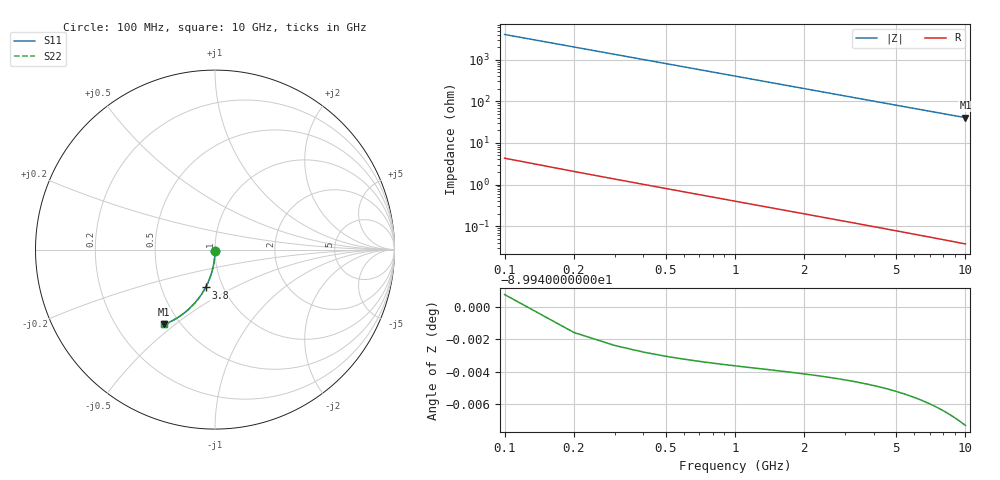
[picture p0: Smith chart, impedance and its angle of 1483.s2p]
# Hz S RI R 50.00
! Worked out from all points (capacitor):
!   100 points, 100 MHz to 10 GHz, reference 50 ohm
!   read as one part in shunt: C = 394 fF near 100 MHz
!   lowest |Z| = 40.6 ohm at 10 GHz (marker M1)
!   S11 on the Smith chart (normalised r, x): 100 MHz: 1.00, -0.01; 3.8 GHz: 0.83, -0.37; 10 GHz: 0.41, -0.46
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1e8  5.71e-05 -0.00586  0.9999 -0.00651  0.9999 -0.00651  5.71e-05 -0.00586
2e8  -6.25e-05 -0.0117  0.9997 -0.013  0.9997 -0.013  -6.25e-05 -0.0117
3e8  -0.000259 -0.0176  0.9995 -0.0195  0.9995 -0.0195  -0.000259 -0.0176
4e8  -0.000531 -0.0234  0.9993 -0.026  0.9993 -0.026  -0.000531 -0.0234
5e8  -0.000879 -0.0293  0.9989 -0.0325  0.9989 -0.0325  -0.000879 -0.0293
6e8  -0.0013 -0.0351  0.9985 -0.039  0.9985 -0.039  -0.0013 -0.0351
7e8  -0.0018 -0.0409  0.998 -0.0455  0.998 -0.0455  -0.0018 -0.0409
8e8  -0.00238 -0.0467  0.9974 -0.0519  0.9974 -0.0519  -0.00238 -0.0467
9e8  -0.00303 -0.0525  0.9967 -0.0584  0.9967 -0.0584  -0.00303 -0.0525
1.1e9  -0.00456 -0.0641  0.9952 -0.0713  0.9952 -0.0713  -0.00456 -0.0641
1.4e9  -0.0074 -0.0814  0.9923 -0.0905  0.9923 -0.0905  -0.0074 -0.0814
1.8e9  -0.0122 -0.1041  0.9875 -0.1159  0.9875 -0.1159  -0.0122 -0.1041
2.1e9  -0.0166 -0.121  0.9831 -0.1347  0.9831 -0.1347  -0.0166 -0.121
2.5e9  -0.0234 -0.143  0.9763 -0.1594  0.9763 -0.1594  -0.0234 -0.143
2.9e9  -0.0313 -0.1646  0.9683 -0.1835  0.9683 -0.1835  -0.0313 -0.1646
3.4e9  -0.0425 -0.1907  0.957 -0.213  0.957 -0.213  -0.0425 -0.1907
3.8e9  -0.0526 -0.2109  0.9468 -0.2358  0.9468 -0.2358  -0.0526 -0.2109
4.4e9  -0.0694 -0.2398  0.9299 -0.2687  0.9299 -0.2687  -0.0694 -0.2398
5.1e9  -0.0913 -0.2714  0.9079 -0.3048  0.9079 -0.3048  -0.0913 -0.2714
6.7e9  -0.1485 -0.3336  0.8503 -0.3777  0.8503 -0.3777  -0.1485 -0.3336
8.4e9  -0.2162 -0.384  0.782 -0.4396  0.782 -0.4396  -0.2162 -0.384
1e10  -0.2823 -0.4169  0.7152 -0.4835  0.7152 -0.4835  -0.2823 -0.4169
